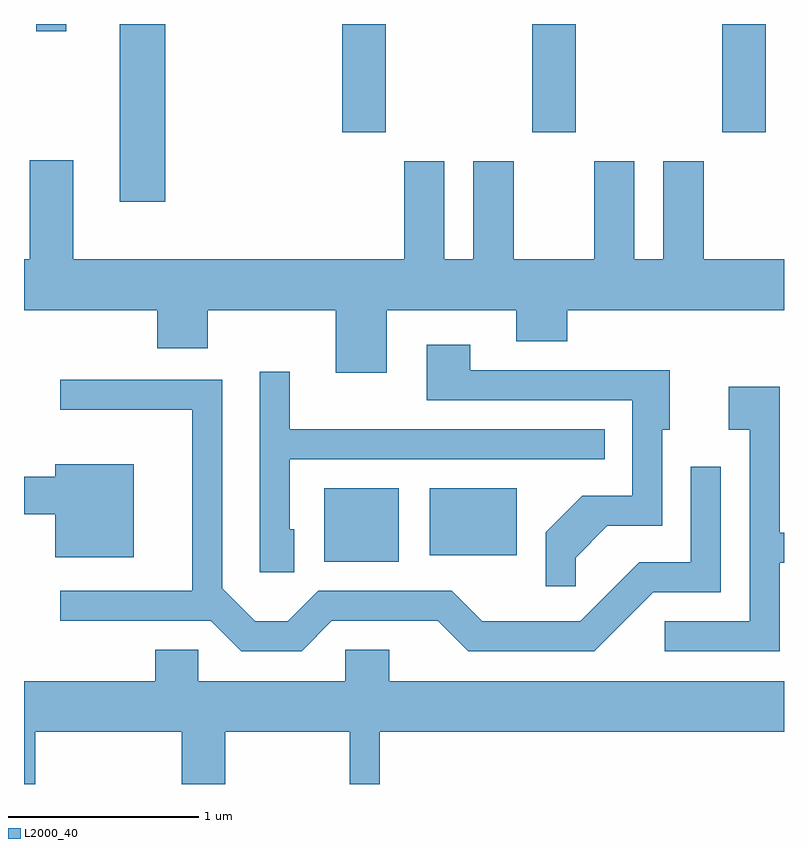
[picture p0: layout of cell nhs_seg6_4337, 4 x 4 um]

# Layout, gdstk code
import gdstk
lib = gdstk.Library(unit=1e-6, precision=1e-09)
def R(c, l, rs):  # rectangles x0, y0, x1, y1
    for r in rs: c.add(gdstk.rectangle(r[:2], r[2:], *l))
def A(c, l, x, y, w, h, nx, ny, dx, dy):  # array of equal rectangles
    R(c, l, [(x+i*dx, y+j*dy, x+i*dx+w, y+j*dy+h) for i in range(nx) for j in range(ny)])
def P(c, l, *ps):  # polygons
    for p in ps: c.add(gdstk.Polygon(p, *l))
L2000_40 = (2000, 40)

nhs_seg6_4337 = lib.new_cell('nhs_seg6_4337')
A(nhs_seg6_4337, L2000_40, 319.286, 1597.591, 0.228, 0.571, 3, 1, 1, 0)
R(nhs_seg6_4337, L2000_40, [(319.191,1595.331,319.584,1595.719), (319.746,1595.366,320.204,1595.719), (318.116,1597.226,318.354,1598.162), (317.676,1598.123,317.834,1598.162)])
P(nhs_seg6_4337, L2000_40, [(319.519,1596.656),(320.201,1596.656),(320.201,1596.491),(320.469,1596.491),(320.469,1596.656),(321.611,1596.656),(321.611,1596.924),(321.189,1596.924),(321.189,1597.439),(320.976,1597.439),(320.976,1596.924),(320.824,1596.924),(320.824,1597.439),(320.611,1597.439),(320.611,1596.924),(320.189,1596.924),(320.189,1597.439),(319.976,1597.439),(319.976,1596.924),(319.824,1596.924),(319.824,1597.439),(319.611,1597.439),(319.611,1596.924),(317.869,1596.924),(317.869,1597.444),(317.641,1597.444),(317.641,1596.924),(317.611,1596.924),(317.611,1596.656),(318.311,1596.656),(318.311,1596.456),(318.579,1596.456),(318.579,1596.656),(319.251,1596.656),(319.251,1596.326),(319.519,1596.326)],
  [(320.514,1595.354),(320.682,1595.521),(320.969,1595.521),(320.969,1596.026),(321.009,1596.026),(321.009,1596.339),(319.959,1596.339),(319.959,1596.474),(319.731,1596.474),(319.731,1596.181),(320.811,1596.181),(320.811,1595.679),(320.549,1595.679),(320.356,1595.487),(320.356,1595.203),(320.514,1595.203)],
  [(319.034,1595.504),(319.009,1595.504),(319.009,1595.871),(320.668,1595.871),(320.668,1596.029),(319.009,1596.029),(319.009,1596.333),(318.851,1596.333),(318.851,1595.276),(319.034,1595.276)],
  [(319.232,1595.021),(319.789,1595.021),(319.949,1594.861),(320.612,1594.861),(320.922,1595.171),(321.279,1595.171),(321.279,1595.833),(321.121,1595.833),(321.121,1595.329),(320.849,1595.329),(320.539,1595.019),(320.022,1595.019),(319.862,1595.179),(319.159,1595.179),(318.999,1595.019),(318.827,1595.019),(318.654,1595.192),(318.654,1596.289),(317.803,1596.289),(317.803,1596.131),(318.496,1596.131),(318.496,1595.179),(317.803,1595.179),(317.803,1595.021),(318.594,1595.021),(318.754,1594.861),(319.072,1594.861)],
  [(321.589,1595.326),(321.611,1595.326),(321.611,1595.484),(321.589,1595.484),(321.589,1596.254),(321.321,1596.254),(321.321,1596.026),(321.431,1596.026),(321.431,1595.019),(320.983,1595.019),(320.983,1594.861),(321.589,1594.861)],
  [(318.189,1595.844),(317.776,1595.844),(317.776,1595.779),(317.611,1595.779),(317.611,1595.581),(317.776,1595.581),(317.776,1595.356),(318.189,1595.356)],
  [(317.669,1594.436),(318.441,1594.436),(318.441,1594.162),(318.669,1594.162),(318.669,1594.436),(319.326,1594.436),(319.326,1594.162),(319.484,1594.162),(319.484,1594.436),(321.611,1594.436),(321.611,1594.704),(319.534,1594.704),(319.534,1594.869),(319.301,1594.869),(319.301,1594.704),(318.529,1594.704),(318.529,1594.869),(318.301,1594.869),(318.301,1594.704),(317.611,1594.704),(317.611,1594.162),(317.669,1594.162)])

lib.write_gds('nhs_seg6_4337.gds')
